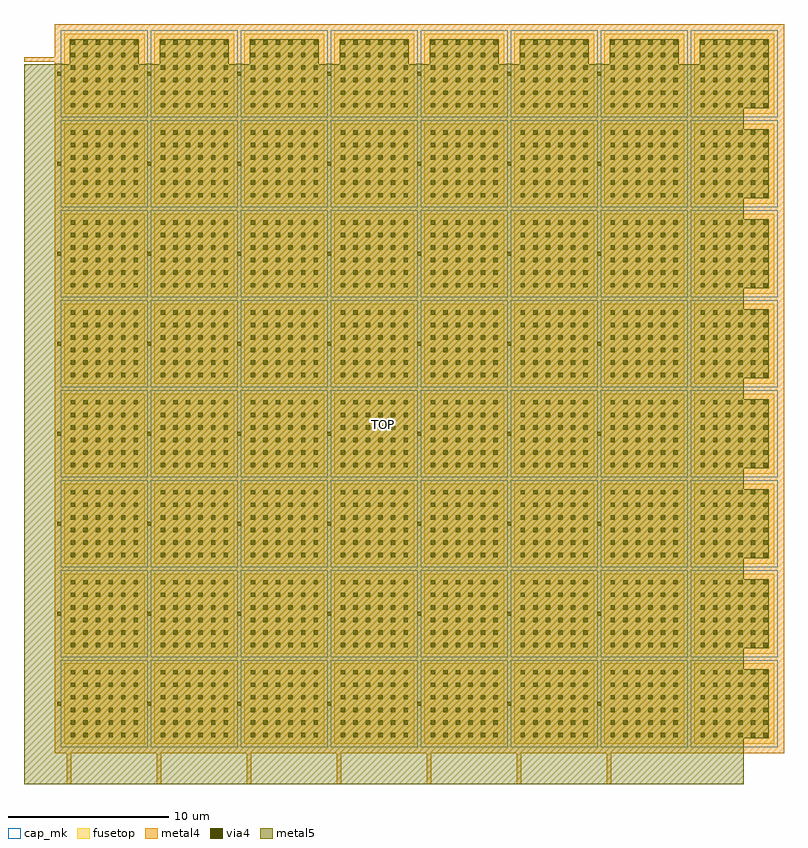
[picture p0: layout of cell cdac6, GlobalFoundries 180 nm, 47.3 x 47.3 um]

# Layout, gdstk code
import gdstk
lib = gdstk.Library(unit=1e-6, precision=1e-09)
def R(c, l, rs):  # rectangles x0, y0, x1, y1
    for r in rs: c.add(gdstk.rectangle(r[:2], r[2:], *l))
def A(c, l, x, y, w, h, nx, ny, dx, dy):  # array of equal rectangles
    R(c, l, [(x+i*dx, y+j*dy, x+i*dx+w, y+j*dy+h) for i in range(nx) for j in range(ny)])
via4 = (41, 0)
metal4 = (46, 0)
fusetop = (75, 0)
metal5 = (81, 0)
cap_mk = (117, 5)

cdac6 = lib.new_cell('cdac6')
A(cdac6, via4, 2.92, 2.92, 0.26, 0.26, 6, 6, 0.78, 0.78)
A(cdac6, via4, 8.52, 2.92, 0.26, 0.26, 6, 6, 0.78, 0.78)
A(cdac6, via4, 14.12, 2.92, 0.26, 0.26, 6, 6, 0.78, 0.78)
A(cdac6, via4, 19.72, 2.92, 0.26, 0.26, 6, 6, 0.78, 0.78)
A(cdac6, via4, 25.32, 2.92, 0.26, 0.26, 6, 6, 0.78, 0.78)
A(cdac6, via4, 30.92, 2.92, 0.26, 0.26, 6, 6, 0.78, 0.78)
A(cdac6, via4, 36.52, 2.92, 0.26, 0.26, 6, 6, 0.78, 0.78)
A(cdac6, via4, 42.12, 2.92, 0.26, 0.26, 6, 6, 0.78, 0.78)
A(cdac6, via4, 2.07, 4.87, 0.26, 0.26, 7, 8, 5.6, 5.6)
A(cdac6, via4, 2.92, 8.52, 0.26, 0.26, 6, 6, 0.78, 0.78)
A(cdac6, via4, 8.52, 8.52, 0.26, 0.26, 6, 6, 0.78, 0.78)
A(cdac6, via4, 14.12, 8.52, 0.26, 0.26, 6, 6, 0.78, 0.78)
A(cdac6, via4, 19.72, 8.52, 0.26, 0.26, 6, 6, 0.78, 0.78)
A(cdac6, via4, 25.32, 8.52, 0.26, 0.26, 6, 6, 0.78, 0.78)
A(cdac6, via4, 30.92, 8.52, 0.26, 0.26, 6, 6, 0.78, 0.78)
A(cdac6, via4, 36.52, 8.52, 0.26, 0.26, 6, 6, 0.78, 0.78)
A(cdac6, via4, 42.12, 8.52, 0.26, 0.26, 6, 6, 0.78, 0.78)
A(cdac6, via4, 2.92, 14.12, 0.26, 0.26, 6, 6, 0.78, 0.78)
A(cdac6, via4, 8.52, 14.12, 0.26, 0.26, 6, 6, 0.78, 0.78)
A(cdac6, via4, 14.12, 14.12, 0.26, 0.26, 6, 6, 0.78, 0.78)
A(cdac6, via4, 19.72, 14.12, 0.26, 0.26, 6, 6, 0.78, 0.78)
A(cdac6, via4, 25.32, 14.12, 0.26, 0.26, 6, 6, 0.78, 0.78)
A(cdac6, via4, 30.92, 14.12, 0.26, 0.26, 6, 6, 0.78, 0.78)
A(cdac6, via4, 36.52, 14.12, 0.26, 0.26, 6, 6, 0.78, 0.78)
A(cdac6, via4, 42.12, 14.12, 0.26, 0.26, 6, 6, 0.78, 0.78)
A(cdac6, via4, 2.92, 19.72, 0.26, 0.26, 6, 6, 0.78, 0.78)
A(cdac6, via4, 8.52, 19.72, 0.26, 0.26, 6, 6, 0.78, 0.78)
A(cdac6, via4, 14.12, 19.72, 0.26, 0.26, 6, 6, 0.78, 0.78)
A(cdac6, via4, 19.72, 19.72, 0.26, 0.26, 6, 6, 0.78, 0.78)
A(cdac6, via4, 25.32, 19.72, 0.26, 0.26, 6, 6, 0.78, 0.78)
A(cdac6, via4, 30.92, 19.72, 0.26, 0.26, 6, 6, 0.78, 0.78)
A(cdac6, via4, 36.52, 19.72, 0.26, 0.26, 6, 6, 0.78, 0.78)
A(cdac6, via4, 42.12, 19.72, 0.26, 0.26, 6, 6, 0.78, 0.78)
A(cdac6, via4, 2.92, 25.32, 0.26, 0.26, 6, 6, 0.78, 0.78)
A(cdac6, via4, 8.52, 25.32, 0.26, 0.26, 6, 6, 0.78, 0.78)
A(cdac6, via4, 14.12, 25.32, 0.26, 0.26, 6, 6, 0.78, 0.78)
A(cdac6, via4, 19.72, 25.32, 0.26, 0.26, 6, 6, 0.78, 0.78)
A(cdac6, via4, 25.32, 25.32, 0.26, 0.26, 6, 6, 0.78, 0.78)
A(cdac6, via4, 30.92, 25.32, 0.26, 0.26, 6, 6, 0.78, 0.78)
A(cdac6, via4, 36.52, 25.32, 0.26, 0.26, 6, 6, 0.78, 0.78)
A(cdac6, via4, 42.12, 25.32, 0.26, 0.26, 6, 6, 0.78, 0.78)
A(cdac6, via4, 2.92, 30.92, 0.26, 0.26, 6, 6, 0.78, 0.78)
A(cdac6, via4, 8.52, 30.92, 0.26, 0.26, 6, 6, 0.78, 0.78)
A(cdac6, via4, 14.12, 30.92, 0.26, 0.26, 6, 6, 0.78, 0.78)
A(cdac6, via4, 19.72, 30.92, 0.26, 0.26, 6, 6, 0.78, 0.78)
A(cdac6, via4, 25.32, 30.92, 0.26, 0.26, 6, 6, 0.78, 0.78)
A(cdac6, via4, 30.92, 30.92, 0.26, 0.26, 6, 6, 0.78, 0.78)
A(cdac6, via4, 36.52, 30.92, 0.26, 0.26, 6, 6, 0.78, 0.78)
A(cdac6, via4, 42.12, 30.92, 0.26, 0.26, 6, 6, 0.78, 0.78)
A(cdac6, via4, 2.92, 36.52, 0.26, 0.26, 6, 6, 0.78, 0.78)
A(cdac6, via4, 8.52, 36.52, 0.26, 0.26, 6, 6, 0.78, 0.78)
A(cdac6, via4, 14.12, 36.52, 0.26, 0.26, 6, 6, 0.78, 0.78)
A(cdac6, via4, 19.72, 36.52, 0.26, 0.26, 6, 6, 0.78, 0.78)
A(cdac6, via4, 25.32, 36.52, 0.26, 0.26, 6, 6, 0.78, 0.78)
A(cdac6, via4, 30.92, 36.52, 0.26, 0.26, 6, 6, 0.78, 0.78)
A(cdac6, via4, 36.52, 36.52, 0.26, 0.26, 6, 6, 0.78, 0.78)
A(cdac6, via4, 42.12, 36.52, 0.26, 0.26, 6, 6, 0.78, 0.78)
A(cdac6, via4, 2.92, 42.12, 0.26, 0.26, 6, 6, 0.78, 0.78)
A(cdac6, via4, 8.52, 42.12, 0.26, 0.26, 6, 6, 0.78, 0.78)
A(cdac6, via4, 14.12, 42.12, 0.26, 0.26, 6, 6, 0.78, 0.78)
A(cdac6, via4, 19.72, 42.12, 0.26, 0.26, 6, 6, 0.78, 0.78)
A(cdac6, via4, 25.32, 42.12, 0.26, 0.26, 6, 6, 0.78, 0.78)
A(cdac6, via4, 30.92, 42.12, 0.26, 0.26, 6, 6, 0.78, 0.78)
A(cdac6, via4, 36.52, 42.12, 0.26, 0.26, 6, 6, 0.78, 0.78)
A(cdac6, via4, 42.12, 42.12, 0.26, 0.26, 6, 6, 0.78, 0.78)
A(cdac6, metal4, 2.66, 0, 0.28, 44.95, 7, 1, 5.6, 0)
A(cdac6, metal4, 1.9, 1.9, 6.2, 6.2, 8, 8, 5.6, 5.6)
A(cdac6, metal4, 2.06, 4.74, 0.28, 0.52, 7, 8, 5.6, 5.6)
R(cdac6, metal4, [(0,44.95,22.4,45.23), (22.4,45.51,33.6,45.79), (33.6,46.07,39.2,46.35)])
A(cdac6, fusetop, 2.5, 2.5, 5, 5, 8, 8, 5.6, 5.6)
A(cdac6, metal5, 2.86, 2.86, 4.28, 4.28, 8, 8, 5.6, 5.6)
A(cdac6, metal5, 1.98, 4.36, 0.44, 1.28, 7, 8, 5.6, 5.6)
R(cdac6, metal5, [(0,0,44.8,44.8)])
A(cdac6, cap_mk, 2.3, 2.3, 5.4, 5.4, 8, 8, 5.6, 5.6)
cdac6.add(gdstk.Label('TOP', (22.4,22.4), layer=81, texttype=10))

lib.write_gds('cdac6.gds')
